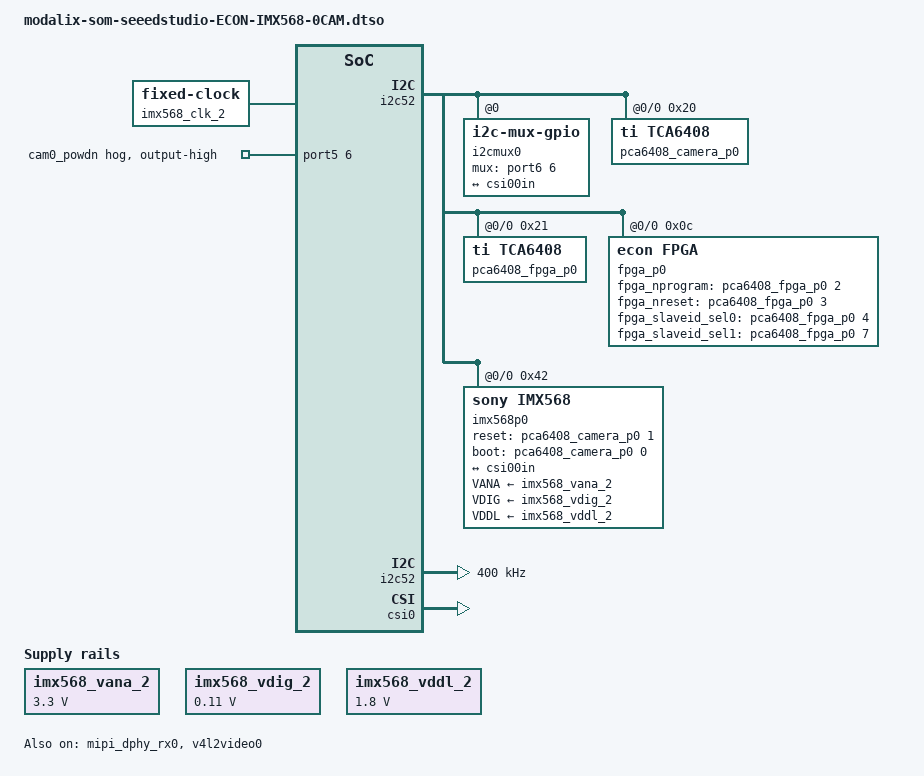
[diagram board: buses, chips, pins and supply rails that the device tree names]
// SPDX-License-Identifier: (GPL-2.0+ OR MIT)
/*
 * Copyright (c) 2026 SiMa ai
 */

/dts-v1/;
/plugin/;

&{/} {
    imx568_vana_2: csi0_fixedregulator@0 {
        compatible = "regulator-fixed";
        regulator-name = "imx568_vana_2";
        regulator-min-microvolt = <3300000>;
        regulator-max-microvolt = <3300000>;
        enable-active-high;
        startup-delay-us = <300000>;
        regulator-always-on;
    };

    imx568_vdig_2: csi0_fixedregulator@1 {
        compatible = "regulator-fixed";
        regulator-name = "imx568_vdig_2";
        regulator-min-microvolt = <110000>;
        regulator-max-microvolt = <110000>;
        regulator-always-on;
    };

    imx568_vddl_2: csi0_fixedregulator@2 {
        compatible = "regulator-fixed";
        regulator-name = "imx568_vddl_2";
        regulator-min-microvolt = <1800000>;
        regulator-max-microvolt = <1800000>;
        regulator-always-on;
    };

    imx568_clk_2: csi0_camera-clk {
        compatible = "fixed-clock";
        #clock-cells = <0>;
        clock-frequency = <37125000>;
    };

    i2cmux0: i2cmux@0 {
        compatible = "i2c-mux-gpio";
        i2c-parent = <&i2c52>;
        #address-cells = <1>;
        #size-cells = <0>;
        /* Set port6 gpio6 to GPIO_ACTIVE_LOW mode */
        mux-gpios = <&port6 6 0>;

        i2cmux0p0: i2c@0 {
            reg = <0>;
            #address-cells = <1>;
            #size-cells = <0>;
        };
    };
};

&port5 {
        cam-hog0 {
                gpio-hog;
                /* Set port5 gpio6 to GPIO_ACTIVE_HIGH mode */
                gpios = <6 0>;
                output-high;
                line-name = "cam0_powdn";
        };
};

&i2c52 {
    status = "okay";
    clock-frequency = <400000>;
    #address-cells = <1>;
    #size-cells = <0>;
};

&csi0 {
    status = "okay";
};

&axi_vdma0 {
    status = "okay";
};

&mipi_dphy_rx0 {
    status = "okay";
};

&v4l2video0 {
    status = "okay";
};

&v4l2vdma0 {
    status = "okay";
};

&csi00in {
    clock-lanes = <0>;
    data-lanes = <1 2>;
    link-frequencies = /bits/ 64 <594000000>;
    remote-endpoint = <&cam00out>;
    clock-continuous;
};

&i2cmux0p0 {
    pca6408_camera_p0: pca6408@20 {
        compatible = "ti,tca6408";
        gpio-controller;
        #gpio-cells = <2>;
        reg = <0x20>;
        status = "okay";
    };

    pca6408_fpga_p0: pca6408@21 {
        compatible = "ti,tca6408";
        gpio-controller;
        #gpio-cells = <2>;
        reg = <0x21>;
        status = "okay";
    };

    fpga_p0: fpga@c {
        compatible = "econ,fpga";
        reg = <0x0c>;
        status = "okay";
        fpga_nprogram-gpios = <&pca6408_fpga_p0 2 0>;
        fpga_nreset-gpios = <&pca6408_fpga_p0 3 0>;
        fpga_slaveid_sel0-gpios = <&pca6408_fpga_p0 4 0>;
      	fpga_slaveid_sel1-gpios = <&pca6408_fpga_p0 7 0>;
		mipi_filter_dt1 = <0x92>;
		mipi_filter_dt2 = <0x93>;
		mipi_filter_dt3 = <0xb7>;
		mipi_filter_dt4 = <0x7f>;
		mipi_speed = <1188>;
		mipi_tx_clockmode = <0>; // Discontinuous
		mipi_rx_clockmode = <0>; // Discontinuous
    };

    imx568p0: imx568@42 {
        compatible = "sony,imx568";
        reg = <0x42>;
        clocks = <&imx568_clk_2>;
        clock-names = "xclk";
        VANA-supply = <&imx568_vana_2>;
        VDIG-supply = <&imx568_vdig_2>;
        VDDL-supply = <&imx568_vddl_2>;
        reset-gpios = <&pca6408_camera_p0 1 0>;
        boot-gpios  = <&pca6408_camera_p0 0 0>;
        camera_mipi_lanes = <2>;
        cam_fw_name = "imx568_cam_fw.bin";

        port@1 {
            cam00out: endpoint@0 {
                clock-lanes = <0>;
                data-lanes = <1 2>;
                link-frequencies = /bits/ 64 <594000000>;
                remote-endpoint = <&csi00in>;
                clock-continuous;
            };
        };
    };
};
